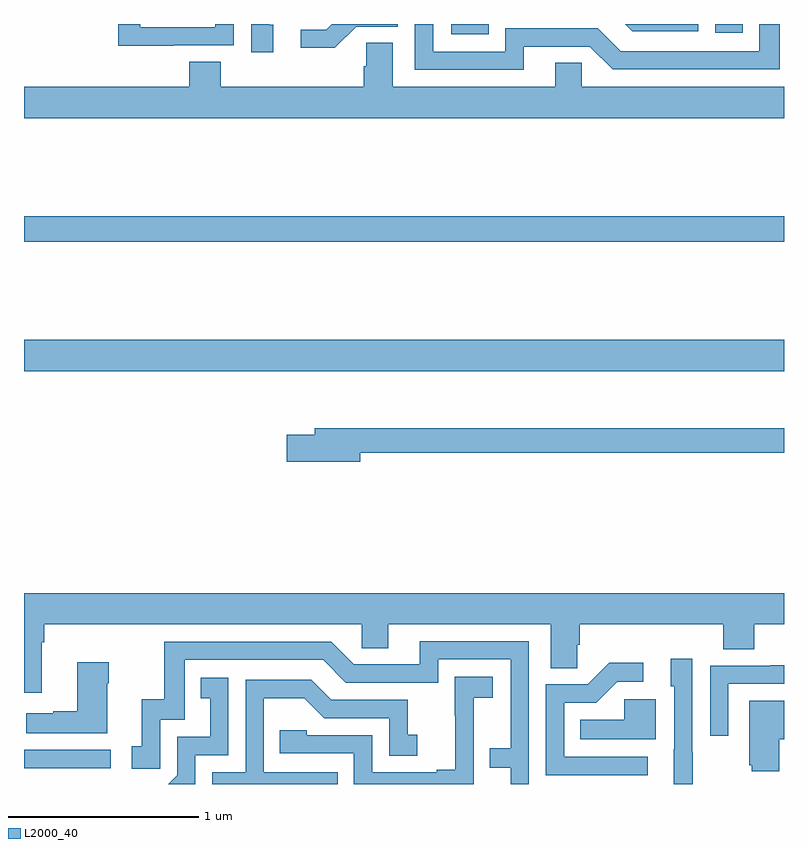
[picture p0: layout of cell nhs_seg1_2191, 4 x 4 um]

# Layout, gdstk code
import gdstk
lib = gdstk.Library(unit=1e-6, precision=1e-09)
def R(c, l, rs):  # rectangles x0, y0, x1, y1
    for r in rs: c.add(gdstk.rectangle(r[:2], r[2:], *l))
def P(c, l, *ps):  # polygons
    for p in ps: c.add(gdstk.Polygon(p, *l))
L2000_40 = (2000, 40)

nhs_seg1_2191 = lib.new_cell('nhs_seg1_2191')
R(nhs_seg1_2191, L2000_40, [(229,576.282,229.456,576.378), (229,578.372,233,578.536), (229,579.052,233,579.188), (231.249,580.145,231.447,580.199), (232.638,580.152,232.784,580.199)])
P(nhs_seg1_2191, L2000_40, [(231.631,580.08),(231.978,580.08),(232.098,579.96),(232.978,579.96),(232.978,580.199),(232.869,580.199),(232.869,580.056),(232.14,580.056),(232.02,580.176),(231.534,580.176),(231.534,580.053),(231.153,580.053),(231.153,580.199),(231.057,580.199),(231.057,579.957),(231.631,579.957)],
  [(230.311,580.194),(230.292,580.194),(230.292,580.199),(230.196,580.199),(230.196,580.05),(230.311,580.05)],
  [(232.548,580.199),(232.164,580.199),(232.202,580.161),(232.548,580.161)],
  [(230.748,580.185),(230.967,580.185),(230.967,580.199),(230.62,580.199),(230.591,580.17),(230.457,580.17),(230.457,580.073),(230.635,580.073)],
  [(229.787,580.086),(230.103,580.086),(230.103,580.199),(230.007,580.199),(230.007,580.182),(229.611,580.182),(229.611,580.199),(229.495,580.199),(229.495,580.085),(229.787,580.085)],
  [(233,579.868),(231.936,579.868),(231.936,579.995),(231.797,579.995),(231.797,579.868),(230.941,579.868),(230.941,580.1),(230.802,580.1),(230.802,579.977),(230.789,579.977),(230.789,579.868),(230.036,579.868),(230.036,580.001),(229.871,580.001),(229.871,579.868),(229,579.868),(229,579.704),(233,579.704)],
  [(230.77,577.942),(233,577.942),(233,578.071),(230.531,578.071),(230.531,578.037),(230.382,578.037),(230.382,577.895),(230.77,577.895)],
  [(229.093,576.944),(229.106,576.944),(229.106,577.04),(230.778,577.04),(230.778,576.913),(230.917,576.913),(230.917,577.04),(231.773,577.04),(231.773,576.808),(231.912,576.808),(231.912,576.931),(231.926,576.931),(231.926,577.04),(232.679,577.04),(232.679,576.907),(232.844,576.907),(232.844,577.04),(233,577.04),(233,577.204),(229,577.204),(229,576.678),(229.093,576.678)],
  [(231.657,576.951),(231.083,576.951),(231.083,576.828),(230.736,576.828),(230.616,576.948),(229.737,576.948),(229.737,576.646),(229.619,576.646),(229.619,576.399),(229.566,576.399),(229.566,576.279),(229.716,576.279),(229.716,576.537),(229.845,576.537),(229.845,576.852),(230.574,576.852),(230.694,576.732),(231.18,576.732),(231.18,576.855),(231.561,576.855),(231.561,576.386),(231.451,576.386),(231.451,576.285),(231.561,576.285),(231.561,576.199),(231.657,576.199)],
  [(232.521,576.365),(232.518,576.365),(232.518,576.859),(232.403,576.859),(232.403,576.714),(232.422,576.714),(232.422,576.383),(232.421,576.383),(232.421,576.199),(232.521,576.199)],
  [(229.438,576.728),(229.446,576.728),(229.446,576.841),(229.28,576.841),(229.28,576.581),(229.154,576.581),(229.154,576.571),(229.011,576.571),(229.011,576.467),(229.438,576.467)],
  [(232.282,576.342),(231.843,576.342),(231.843,576.627),(232.012,576.627),(232.123,576.738),(232.258,576.738),(232.258,576.836),(232.079,576.836),(231.966,576.723),(231.747,576.723),(231.747,576.246),(232.282,576.246)],
  [(232.707,576.726),(233,576.726),(233,576.824),(232.927,576.824),(232.927,576.822),(232.611,576.822),(232.611,576.453),(232.707,576.453)],
  [(231.366,576.425),(231.368,576.425),(231.368,576.653),(231.466,576.653),(231.466,576.763),(231.268,576.763),(231.268,576.557),(231.269,576.557),(231.269,576.274),(231.173,576.274),(231.173,576.261),(230.832,576.261),(230.832,576.456),(230.487,576.456),(230.487,576.483),(230.347,576.483),(230.347,576.36),(230.736,576.36),(230.736,576.199),(231.366,576.199)],
  [(229.902,576.351),(230.076,576.351),(230.076,576.757),(229.93,576.757),(229.93,576.651),(229.979,576.651),(229.979,576.447),(229.806,576.447),(229.806,576.246),(229.759,576.199),(229.902,576.199)],
  [(230.651,576.261),(230.262,576.261),(230.262,576.65),(230.476,576.65),(230.58,576.546),(230.922,576.546),(230.922,576.348),(231.07,576.348),(231.07,576.457),(231.021,576.457),(231.021,576.642),(230.617,576.642),(230.512,576.747),(230.166,576.747),(230.166,576.261),(229.992,576.261),(229.992,576.199),(230.651,576.199)],
  [(232.324,576.646),(232.159,576.646),(232.159,576.538),(231.928,576.538),(231.928,576.434),(232.324,576.434)],
  [(232.975,576.434),(233,576.434),(233,576.637),(232.817,576.637),(232.817,576.297),(232.829,576.297),(232.829,576.266),(232.975,576.266)])

lib.write_gds('nhs_seg1_2191.gds')
